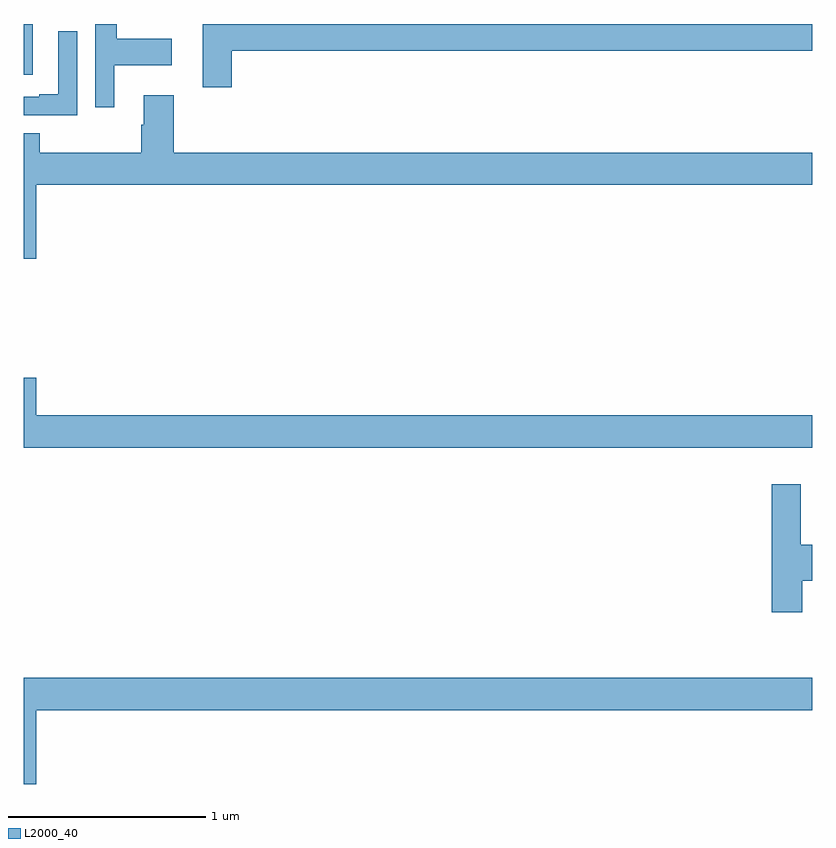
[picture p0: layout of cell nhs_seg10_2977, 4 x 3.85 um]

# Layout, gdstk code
import gdstk
lib = gdstk.Library(unit=1e-6, precision=1e-09)
def R(c, l, rs):  # rectangles x0, y0, x1, y1
    for r in rs: c.add(gdstk.rectangle(r[:2], r[2:], *l))
def P(c, l, *ps):  # polygons
    for p in ps: c.add(gdstk.Polygon(p, *l))
L2000_40 = (2000, 40)

nhs_seg10_2977 = lib.new_cell('nhs_seg10_2977')
R(nhs_seg10_2977, L2000_40, [(273,1266.242,273.046,1266.5)])
P(nhs_seg10_2977, L2000_40, [(273.46,1266.29),(273.751,1266.29),(273.751,1266.425),(273.472,1266.425),(273.472,1266.5),(273.363,1266.5),(273.363,1266.078),(273.46,1266.078)],
  [(274.055,1266.364),(277,1266.364),(277,1266.5),(273.908,1266.5),(273.908,1266.18),(274.055,1266.18)],
  [(273.273,1266.463),(273.176,1266.463),(273.176,1266.145),(273.08,1266.145),(273.08,1266.132),(273,1266.132),(273,1266.036),(273.273,1266.036)],
  [(273.064,1265.684),(277,1265.684),(277,1265.848),(273.761,1265.848),(273.761,1266.139),(273.608,1266.139),(273.608,1265.99),(273.596,1265.99),(273.596,1265.848),(273.083,1265.848),(273.083,1265.946),(273,1265.946),(273,1265.31),(273.064,1265.31)],
  [(277,1264.516),(273.064,1264.516),(273.064,1264.705),(273,1264.705),(273,1264.352),(277,1264.352)],
  [(276.948,1263.677),(277,1263.677),(277,1263.86),(276.94,1263.86),(276.94,1264.165),(276.794,1264.165),(276.794,1263.516),(276.948,1263.516)],
  [(273.064,1263.02),(277,1263.02),(277,1263.184),(273,1263.184),(273,1262.646),(273.064,1262.646)])

lib.write_gds('nhs_seg10_2977.gds')
